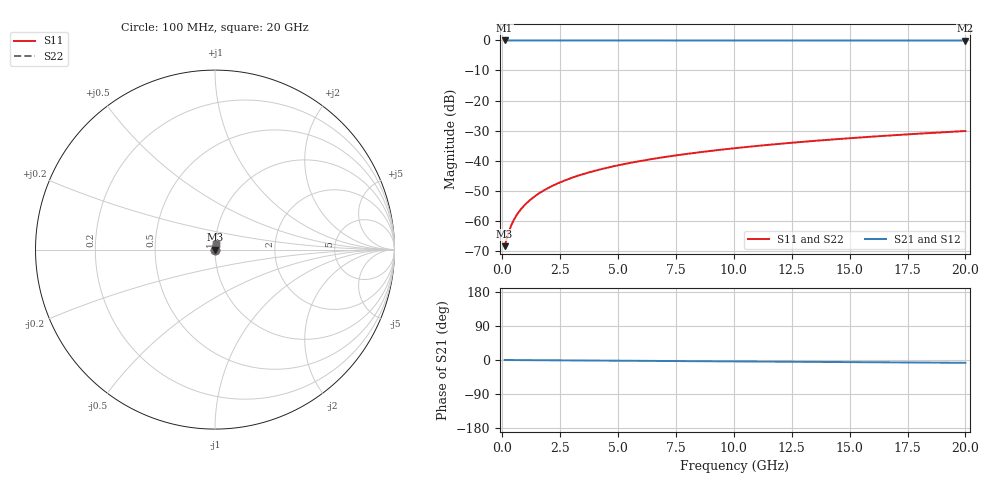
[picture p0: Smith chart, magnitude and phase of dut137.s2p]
! Touchstone file exported from HFSS 2026.1.0
!  File:  C:/ffzhzh/LocalFiles/Ansys_Project_Files/temp_train_TSV_137_1782990280_40604.aedt
!  Generated:  07:06:22 PM Jul  2, 2026
!  Design:  TSV
!  Project:  temp_train_TSV_137_1782990280_40604
! Variables:
!  h_bsmrdl = 2um
!  h_ox = 20um
!  h_rdl = 5um
!  h_sub = 73.4um
!  h_tmrdl = 5um
!  h_tsv = 73.4um
!  h_via = 3um
!  l_bsmrdl = 300um
!  l_sub = 410.92um
!  l_tmrdl = 200um
!  m_sub = 200um
!  pitch = 30.57um
!  r_tsv = 5.46um
!  s_tmrdl = 10um
!  w_bsmrdl = 18um
!  w_sub = 500um
!  w_tmrdl = 12um
!  x_tsv_center1 = 206um
!  x_tsv_center2 = 524um
!  x_tsv_center3 = 736um
!  x_tsv_center4 = 1054um
!  x_tsv_center5 = 1266um
!  x_tsv_center6 = 1584um
# GHz S MA R 50.000000
! Terminal data exported
! Port[1] = TSV1_1_T1
! Port[2] = TSV1_1_T2
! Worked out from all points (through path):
!   200 points, 100 MHz to 20 GHz, reference 50 ohm
!   highest |S21| = 0.00 dB at 100 MHz (marker M1); lowest = 0.0 dB at 20 GHz (marker M2)
!   group delay of S21, straight-line fit = 1.03 ps
!   lowest |S11| = -68.5 dB at 100 MHz (marker M3), VSWR 1.00, Z = 50 + j0.02 ohm
!   |S11| at or under -10 dB: start of sweep to end of sweep
!   |S22| runs from -68.5 to -30.2 dB; largest |S21 - S12| = 3.4e-15
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0.1  0.0003752 32.1  0.9997 -0.0  0.9997 -0.0  0.0003752 32.1
! Gamma 0 0 0 0
! Port Impedance 50 0 50 0
0.2  0.0005154 50.2  0.9997 -0.1  0.9997 -0.1  0.0005154 50.2
0.3  0.0006822 59.3  0.9997 -0.1  0.9997 -0.1  0.0006822 59.3
0.4  0.0008555 64.5  0.9996 -0.2  0.9996 -0.2  0.0008555 64.5
0.5  0.001029 67.7  0.9996 -0.2  0.9996 -0.2  0.001029 67.7
0.6  0.0012 70.0  0.9996 -0.2  0.9996 -0.2  0.0012 70.0
0.8  0.001538 73.0  0.9996 -0.3  0.9996 -0.3  0.001538 73.0
1.1  0.002037 75.7  0.9995 -0.4  0.9995 -0.4  0.002037 75.7
1.3  0.002368 77.0  0.9995 -0.5  0.9995 -0.5  0.002368 77.0
1.6  0.002863 78.3  0.9994 -0.6  0.9994 -0.6  0.002863 78.3
2.1  0.003687 79.7  0.9994 -0.8  0.9994 -0.8  0.003687 79.7
2.7  0.004669 80.6  0.9993 -1.0  0.9993 -1.0  0.004669 80.6
3.5  0.00596 81.2  0.9992 -1.3  0.9992 -1.3  0.00596 81.2
4.2  0.007074 81.4  0.9991 -1.6  0.9991 -1.6  0.007074 81.4
5  0.008331 81.6  0.999 -1.9  0.999 -1.9  0.008331 81.6
5.9  0.009729 81.6  0.9989 -2.2  0.9989 -2.2  0.009729 81.6
6.8  0.01112 81.7  0.9988 -2.5  0.9988 -2.5  0.01112 81.7
8.3  0.01341 81.6  0.9987 -3.1  0.9987 -3.1  0.01341 81.6
10.1  0.01615 81.4  0.9985 -3.8  0.9985 -3.8  0.01615 81.4
13.4  0.02115 80.8  0.9982 -5.0  0.9982 -5.0  0.02115 80.8
16.7  0.02611 80.0  0.9979 -6.2  0.9979 -6.2  0.02611 80.0
20  0.03102 79.0  0.9976 -7.4  0.9976 -7.4  0.03102 79.0
